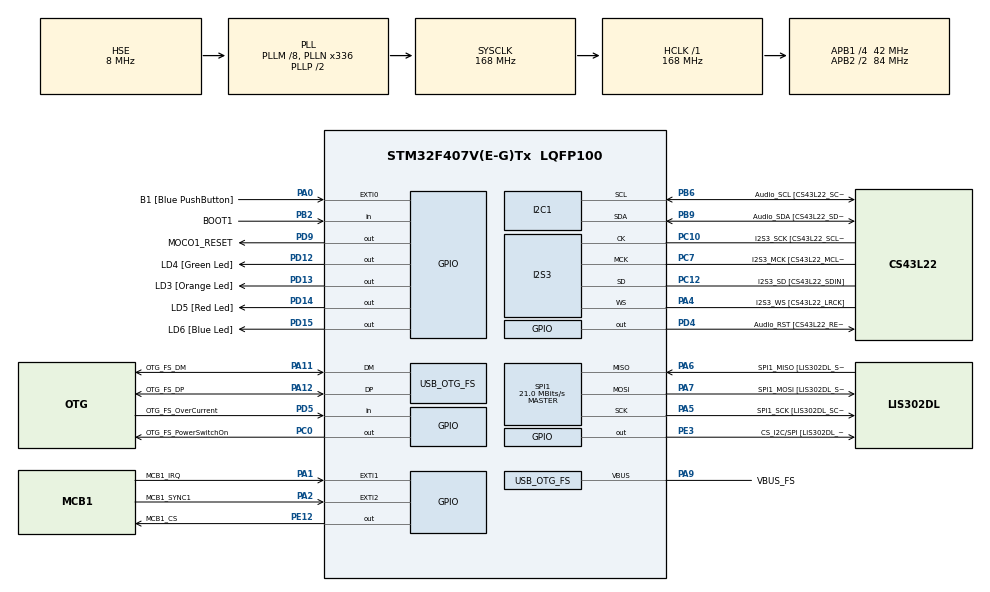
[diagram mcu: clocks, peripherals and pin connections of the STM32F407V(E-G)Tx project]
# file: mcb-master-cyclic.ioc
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I2S3.AudioFreq-Half_Duplex_Master=I2S_AUDIOFREQ_96K
I2S3.ErrorAudioFreq=-2.34 %
I2S3.ErrorAudioFreq-Half_Duplex_Master=0.8 %
I2S3.FullDuplexMode=I2S_FULLDUPLEXMODE_DISABLE
I2S3.Instance=SPI$Index
I2S3.RealAudioFreq=93.75 KHz
I2S3.RealAudioFreq-Half_Duplex_Master=96.774 KHz
I2S3.VirtualMode=I2S_MODE_MASTER
Mcu.Family=STM32F4
Mcu.Name=STM32F407V(E-G)Tx
Mcu.Package=LQFP100
NVIC.OTG_FS_IRQn=true\:0\:0\:false\:false\:true\:true\:true
NVIC.PriorityGroup=NVIC_PRIORITYGROUP_0
PA0-WKUP.GPIO_Label=B1 [Blue PushButton]
PA0-WKUP.GPIO_ModeDefaultEXTI=GPIO_MODE_EVT_RISING
PA0-WKUP.GPIO_PuPd=GPIO_NOPULL
PA0-WKUP.Signal=GPXTI0
PA1.GPIO_Label=MCB1_IRQ
PA1.Signal=GPXTI1
PA10.GPIO_Label=OTG_FS_ID
PA10.GPIO_Mode=GPIO_MODE_AF_PP
PA10.GPIO_PuPd=GPIO_NOPULL
PA10.GPIO_Speed=GPIO_SPEED_FREQ_LOW
PA10.Signal=USB_OTG_FS_ID
PA11.GPIO_Label=OTG_FS_DM
PA11.GPIO_Mode=GPIO_MODE_AF_PP
PA11.GPIO_PuPd=GPIO_NOPULL
PA11.GPIO_Speed=GPIO_SPEED_FREQ_LOW
PA11.Mode=Host_Only
PA11.Signal=USB_OTG_FS_DM
PA12.GPIO_Label=OTG_FS_DP
PA12.GPIO_Mode=GPIO_MODE_AF_PP
PA12.GPIO_PuPd=GPIO_NOPULL
PA12.GPIO_Speed=GPIO_SPEED_FREQ_LOW
PA12.Mode=Host_Only
PA12.Signal=USB_OTG_FS_DP
PA13.GPIO_Label=SWDIO
PA13.Mode=Serial_Wire
PA13.Signal=SYS_JTMS-SWDIO
PA14.GPIO_Label=SWCLK
PA14.Mode=Serial_Wire
PA14.Signal=SYS_JTCK-SWCLK
PA2.GPIO_Label=MCB1_SYNC1
PA2.GPIO_PuPd=GPIO_PULLUP
PA2.Signal=GPXTI2
PA4.GPIO_Label=I2S3_WS [CS43L22_LRCK]
PA4.GPIO_Mode=GPIO_MODE_AF_PP
PA4.GPIO_PuPd=GPIO_NOPULL
PA4.GPIO_Speed=GPIO_SPEED_FREQ_LOW
PA4.Mode=Half_Duplex_Master
PA4.Signal=I2S3_WS
PA5.GPIO_Label=SPI1_SCK [LIS302DL_SCL/SPC]
PA5.GPIO_Mode=GPIO_MODE_AF_PP
PA5.GPIO_PuPd=GPIO_NOPULL
PA5.GPIO_Speed=GPIO_SPEED_FREQ_LOW
PA5.Mode=Full_Duplex_Master
PA5.Signal=SPI1_SCK
PA6.GPIO_Label=SPI1_MISO [LIS302DL_SDO]
PA6.GPIO_Mode=GPIO_MODE_AF_PP
PA6.GPIO_PuPd=GPIO_NOPULL
PA6.GPIO_Speed=GPIO_SPEED_FREQ_LOW
PA6.Mode=Full_Duplex_Master
PA6.Signal=SPI1_MISO
PA7.GPIO_Label=SPI1_MOSI [LIS302DL_SDA/SDI/SDO]
PA7.GPIO_Mode=GPIO_MODE_AF_PP
PA7.GPIO_PuPd=GPIO_NOPULL
PA7.GPIO_Speed=GPIO_SPEED_FREQ_LOW
PA7.Mode=Full_Duplex_Master
PA7.Signal=SPI1_MOSI
PA9.GPIO_Label=VBUS_FS
PA9.GPIO_Mode=GPIO_MODE_INPUT
PA9.GPIO_PuPd=GPIO_NOPULL
PA9.Mode=Activate_VBUS
PA9.Signal=USB_OTG_FS_VBUS
PB10.GPIO_Label=CLK_IN [MP45DT02_CLK]
PB10.GPIO_Mode=GPIO_MODE_AF_PP
PB10.GPIO_PuPd=GPIO_NOPULL
PB10.GPIO_Speed=GPIO_SPEED_FREQ_LOW
PB10.Signal=I2S2_CK
PB2.GPIO_Label=BOOT1
PB2.GPIO_Mode=GPIO_MODE_INPUT
PB2.GPIO_PuPd=GPIO_NOPULL
PB2.Signal=GPIO_Input
PB3.GPIO_Label=SWO
PB3.Signal=SYS_JTDO-SWO
PB6.GPIO_Label=Audio_SCL [CS43L22_SCL]
PB6.GPIO_Mode=GPIO_MODE_AF_OD
PB6.GPIO_PuPd=GPIO_NOPULL
PB6.GPIO_Speed=GPIO_SPEED_FREQ_LOW
PB6.Mode=I2C
PB6.Signal=I2C1_SCL
PB9.GPIO_Label=Audio_SDA [CS43L22_SDA]
PB9.GPIO_Mode=GPIO_MODE_AF_OD
PB9.GPIO_PuPd=GPIO_NOPULL
PB9.GPIO_Speed=GPIO_SPEED_FREQ_LOW
PB9.Mode=I2C
PB9.Signal=I2C1_SDA
PC0.GPIO_Label=OTG_FS_PowerSwitchOn
PC0.GPIO_PuPd=GPIO_NOPULL
PC0.GPIO_Speed=GPIO_SPEED_FREQ_LOW
PC0.PinState=GPIO_PIN_SET
PC0.Signal=GPIO_Output
PC10.GPIO_Label=I2S3_SCK [CS43L22_SCLK]
PC10.GPIO_Mode=GPIO_MODE_AF_PP
PC10.GPIO_PuPd=GPIO_NOPULL
PC10.GPIO_Speed=GPIO_SPEED_FREQ_LOW
PC10.Mode=Half_Duplex_Master
PC10.Signal=I2S3_CK
PC12.GPIO_Label=I2S3_SD [CS43L22_SDIN]
PC12.GPIO_Mode=GPIO_MODE_AF_PP
PC12.GPIO_PuPd=GPIO_NOPULL
PC12.GPIO_Speed=GPIO_SPEED_FREQ_LOW
PC12.Mode=Half_Duplex_Master
PC12.Signal=I2S3_SD
PC14-OSC32_IN.GPIO_Label=PC14-OSC32_IN
PC14-OSC32_IN.Mode=LSE-External-Oscillator
PC14-OSC32_IN.Signal=RCC_OSC32_IN
PC15-OSC32_OUT.GPIO_Label=PC15-OSC32_OUT
PC15-OSC32_OUT.Mode=LSE-External-Oscillator
PC15-OSC32_OUT.Signal=RCC_OSC32_OUT
PC3.GPIO_Label=PDM_OUT [MP45DT02_DOUT]
PC3.GPIO_Mode=GPIO_MODE_AF_PP
PC3.GPIO_PuPd=GPIO_NOPULL
PC3.GPIO_Speed=GPIO_SPEED_FREQ_LOW
PC3.Signal=I2S2_SD
PC7.GPIO_Label=I2S3_MCK [CS43L22_MCLK]
PC7.GPIO_Mode=GPIO_MODE_AF_PP
PC7.GPIO_PuPd=GPIO_NOPULL
PC7.GPIO_Speed=GPIO_SPEED_FREQ_LOW
PC7.Mode=Master_Clock_Activated
PC7.Signal=I2S3_MCK
PD12.GPIO_Label=LD4 [Green Led]
PD12.GPIO_PuPd=GPIO_NOPULL
PD12.GPIO_Speed=GPIO_SPEED_FREQ_LOW
PD12.Signal=GPIO_Output
PD13.GPIO_Label=LD3 [Orange Led]
PD13.GPIO_PuPd=GPIO_NOPULL
PD13.GPIO_Speed=GPIO_SPEED_FREQ_LOW
PD13.Signal=GPIO_Output
PD14.GPIO_Label=LD5 [Red Led]
PD14.GPIO_PuPd=GPIO_NOPULL
PD14.GPIO_Speed=GPIO_SPEED_FREQ_LOW
PD14.Signal=GPIO_Output
PD15.GPIO_Label=LD6 [Blue Led]
PD15.GPIO_PuPd=GPIO_NOPULL
PD15.GPIO_Speed=GPIO_SPEED_FREQ_LOW
PD15.Signal=GPIO_Output
PD4.GPIO_Label=Audio_RST [CS43L22_RESET]
PD4.GPIO_PuPd=GPIO_NOPULL
PD4.GPIO_Speed=GPIO_SPEED_FREQ_LOW
PD4.Signal=GPIO_Output
PD5.GPIO_Label=OTG_FS_OverCurrent
PD5.GPIO_Mode=GPIO_MODE_INPUT
PD5.GPIO_PuPd=GPIO_NOPULL
PD5.Signal=GPIO_Input
PD9.GPIO_Label=MOCO1_RESET
PD9.Signal=GPIO_Output
PE12.GPIO_Label=MCB1_CS
PE12.GPIO_PuPd=GPIO_PULLUP
PE12.GPIO_Speed=GPIO_SPEED_FREQ_HIGH
PE12.PinState=GPIO_PIN_SET
PE12.Signal=GPIO_Output
PE3.GPIO_Label=CS_I2C/SPI [LIS302DL_CS_I2C/SPI]
PE3.GPIO_PuPd=GPIO_NOPULL
PE3.GPIO_Speed=GPIO_SPEED_FREQ_LOW
PE3.Signal=GPIO_Output
PH0-OSC_IN.GPIO_Label=PH0-OSC_IN
PH0-OSC_IN.Mode=HSE-External-Oscillator
PH0-OSC_IN.Signal=RCC_OSC_IN
PH1-OSC_OUT.GPIO_Label=PH1-OSC_OUT
PH1-OSC_OUT.Mode=HSE-External-Oscillator
PH1-OSC_OUT.Signal=RCC_OSC_OUT
ProjectManager.HeapSize=0x200
ProjectManager.StackSize=0x400
ProjectManager.TargetToolchain=STM32CubeIDE
RCC.48MHZClocksFreq_Value=48000000
RCC.AHBFreq_Value=168000000
RCC.APB1CLKDivider=RCC_HCLK_DIV4
RCC.APB1Freq_Value=42000000
RCC.APB1TimFreq_Value=84000000
RCC.APB2CLKDivider=RCC_HCLK_DIV2
RCC.APB2Freq_Value=84000000
RCC.APB2TimFreq_Value=168000000
RCC.CortexFreq_Value=168000000
RCC.HCLKFreq_Value=168000000
RCC.HSE_VALUE=8000000
RCC.HSI_VALUE=16000000
RCC.PLLM=8
RCC.PLLN=336
RCC.PLLQ=7
RCC.SYSCLKFreq_VALUE=168000000
RCC.SYSCLKSource=RCC_SYSCLKSOURCE_PLLCLK
RCC.VCOOutputFreq_Value=336000000
SPI1.BaudRatePrescaler=SPI_BAUDRATEPRESCALER_4
SPI1.BaudRatePrescaler-Full_Duplex_Master=SPI_BAUDRATEPRESCALER_2
SPI1.CLKPolarity=SPI_POLARITY_HIGH
SPI1.CRCCalculation=SPI_CRCCALCULATION_ENABLE
SPI1.CRCPolynomial=X12+X5+X0
SPI1.CalculateBaudRate=21.0 MBits/s
SPI1.CalculateBaudRate-Full_Duplex_Master=42.0 MBits/s
SPI1.DataSize=SPI_DATASIZE_16BIT
SPI1.Direction=SPI_DIRECTION_2LINES
SPI1.Mode=SPI_MODE_MASTER
SPI1.Mode-Full_Duplex_Master=SPI_MODE_MASTER
SPI1.VirtualType=VM_MASTER
USB_HOST.BSP.number=1
USB_HOST.USBH_HandleTypeDef-CDC_FS=hUsbHostFS
USB_HOST.VirtualModeFS=Cdc
USB_HOST0.BSP.STBoard=false
USB_HOST0.BSP.api=Unknown
USB_HOST0.BSP.i2caddr=0
USB_HOST0.BSP.i2creg=0
USB_HOST0.BSP.instance=PC0
USB_HOST0.BSP.ip=GPIO
USB_HOST0.BSP.mode=Output
USB_HOST0.BSP.name=Drive_VBUS_FS
USB_HOST0.BSP.solution=PC0
USB_OTG_FS.VirtualMode=Host_Only
USB_OTG_FS.phy_itface=HCD_PHY_EMBEDDED
VP_USB_HOST_VS_USB_HOST_CDC_FS.Mode=CDC_FS
board=STM32F407G-DISC1

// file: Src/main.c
/* USER CODE BEGIN Header */
/**
  ******************************************************************************
  * @file           : main.c
  * @brief          : Main program body
  ******************************************************************************
  * @attention
  *
  * <h2><center>&copy; Copyright (c) 2020 STMicroelectronics.
  * All rights reserved.</center></h2>
  *
  * This software component is licensed by ST under Ultimate Liberty license
  * SLA0044, the "License"; You may not use this file except in compliance with
  * the License. You may obtain a copy of the License at:
  *                             www.st.com/SLA0044
  *
  ******************************************************************************
  */
/* USER CODE END Header */

#include "main.h"
#include "usb_host.h"

/* USER CODE BEGIN Includes */
#include <string.h>
#include "mcb.h"
#include "mcb_al.h"
/* USER CODE END Includes */

/* USER CODE BEGIN PM */
#define MCB_NMB_INST    (uint16_t)1U
#define MCB_TIMEOUT     (uint32_t)500UL

/** Error codes */
#define NO_ERROR                    (int16_t)0
#define MCB_CURRENT_STATUS_ERROR    (int16_t)-1
#define MCB_MAPPING_ERROR           (int16_t)-2

#define MCB_TX_MAP_NMB              (uint16_t)2U
#define MCB_RX_MAP_NMB              (uint16_t)2U
/* USER CODE END PM */

I2C_HandleTypeDef hi2c1;

I2S_HandleTypeDef hi2s3;

SPI_HandleTypeDef hspi1;

void SystemClock_Config(void);
static void MX_GPIO_Init(void);
static void MX_I2C1_Init(void);
static void MX_I2S3_Init(void);
static void MX_SPI1_Init(void);
void MX_USB_HOST_Process(void);

/* USER CODE BEGIN PFP */
int16_t SetMcb0CyclicMode(void);
/* USER CODE END PFP */

/* USER CODE BEGIN 0 */
/** Mcb instance */
Mcb_TInst ptMcbInst[MCB_NMB_INST];

void* ppTxDatPoint[MCB_TX_MAP_NMB];
void* ppRxDatPoint[MCB_RX_MAP_NMB];

/* USER CODE END 0 */

int main(void)
{

  /* MCU Configuration--------------------------------------------------------*/

  /* Reset of all peripherals, Initializes the Flash interface and the Systick. */
  HAL_Init();

  /* Configure the system clock */
  SystemClock_Config();

  /* Initialize all configured peripherals */
  MX_GPIO_Init();
  MX_I2C1_Init();
  MX_I2S3_Init();
  MX_SPI1_Init();
  MX_USB_HOST_Init();
  /* USER CODE BEGIN 2 */
    /** Initialize mcb instance */
    McbAL_Init(MCB_INST0);
    Mcb_Init(&(ptMcbInst[MCB_INST0]), MCB_BLOCKING, MCB_INST0, false, MCB_TIMEOUT);
    HAL_Delay((uint32_t)1UL);

  /* USER CODE END 2 */

  /* Infinite loop */
  /* USER CODE BEGIN WHILE */
    /** Construct MCB read message */
    Mcb_TMsg tMcbMsg;
    /** Software version */
    tMcbMsg.u16Addr = 0x6E4;
    tMcbMsg.eStatus = MCB_STANDBY;
    memset((void*)tMcbMsg.u16Data, (uint16_t)0U, (MCB_MAX_DATA_SZ * sizeof(tMcbMsg.u16Data[(uint16_t)0U])));

    /** Set mapping and move MCB to cyclic state */
    int16_t i16CycSt = SetMcb0CyclicMode();

    if (i16CycSt != NO_ERROR)
    {
        return -1;
    }

    uint32_t u32CycCnt = (uint32_t)0UL;
    Mcb_EStatus eResult = MCB_STANDBY;
    /** Set a new current Q setpoint */
    float fCurrentQSP = (float)1.1f;
    memcpy(ppRxDatPoint[1], (const void*)&fCurrentQSP, sizeof(float));

    float fCurQRead = (float)0.0f;
  while (1)
  {
    /* USER CODE END WHILE */
    MX_USB_HOST_Process();

    /* USER CODE BEGIN 3 */

      /** Perform a cyclic transfer */
      Mcb_CyclicProcess(&(ptMcbInst[MCB_INST0]), &eResult);
      u32CycCnt++;

      /** Copy current Q to local */
      memcpy((void*)&fCurQRead, (const void*)ppTxDatPoint[1], sizeof(float));
      /** If previous cyclic has already finished, start a new one */
      if (eResult == MCB_READ_SUCCESS)
      {
          ptMcbInst[MCB_INST0].Mcb_Read(&(ptMcbInst[MCB_INST0]), &(tMcbMsg));
      }

      /** After several iteration disable cyclic state and finish program */
      if (u32CycCnt > (uint32_t)0xFFFFUL)
      {
          Mcb_DisableCyclic(ptMcbInst);
      }
      if (ptMcbInst[MCB_INST0].isCyclic == false)
      {
          break;
      }
  }
  /* USER CODE END 3 */
}

void SystemClock_Config(void)
{
  RCC_OscInitTypeDef RCC_OscInitStruct = {0};
  RCC_ClkInitTypeDef RCC_ClkInitStruct = {0};
  RCC_PeriphCLKInitTypeDef PeriphClkInitStruct = {0};

  /** Configure the main internal regulator output voltage
  */
  __HAL_RCC_PWR_CLK_ENABLE();
  __HAL_PWR_VOLTAGESCALING_CONFIG(PWR_REGULATOR_VOLTAGE_SCALE1);
  /** Initializes the CPU, AHB and APB busses clocks
  */
  RCC_OscInitStruct.OscillatorType = RCC_OSCILLATORTYPE_HSE;
  RCC_OscInitStruct.HSEState = RCC_HSE_ON;
  RCC_OscInitStruct.PLL.PLLState = RCC_PLL_ON;
  RCC_OscInitStruct.PLL.PLLSource = RCC_PLLSOURCE_HSE;
  RCC_OscInitStruct.PLL.PLLM = 8;
  RCC_OscInitStruct.PLL.PLLN = 336;
  RCC_OscInitStruct.PLL.PLLP = RCC_PLLP_DIV2;
  RCC_OscInitStruct.PLL.PLLQ = 7;
  if (HAL_RCC_OscConfig(&RCC_OscInitStruct) != HAL_OK)
  {
    Error_Handler();
  }
  /** Initializes the CPU, AHB and APB busses clocks
  */
  RCC_ClkInitStruct.ClockType = RCC_CLOCKTYPE_HCLK|RCC_CLOCKTYPE_SYSCLK
                              |RCC_CLOCKTYPE_PCLK1|RCC_CLOCKTYPE_PCLK2;
  RCC_ClkInitStruct.SYSCLKSource = RCC_SYSCLKSOURCE_PLLCLK;
  RCC_ClkInitStruct.AHBCLKDivider = RCC_SYSCLK_DIV1;
  RCC_ClkInitStruct.APB1CLKDivider = RCC_HCLK_DIV4;
  RCC_ClkInitStruct.APB2CLKDivider = RCC_HCLK_DIV2;

  if (HAL_RCC_ClockConfig(&RCC_ClkInitStruct, FLASH_LATENCY_5) != HAL_OK)
  {
    Error_Handler();
  }
  PeriphClkInitStruct.PeriphClockSelection = RCC_PERIPHCLK_I2S;
  PeriphClkInitStruct.PLLI2S.PLLI2SN = 192;
  PeriphClkInitStruct.PLLI2S.PLLI2SR = 2;
  if (HAL_RCCEx_PeriphCLKConfig(&PeriphClkInitStruct) != HAL_OK)
  {
    Error_Handler();
  }
}

static void MX_I2C1_Init(void)
{

  hi2c1.Instance = I2C1;
  hi2c1.Init.ClockSpeed = 100000;
  hi2c1.Init.DutyCycle = I2C_DUTYCYCLE_2;
  hi2c1.Init.OwnAddress1 = 0;
  hi2c1.Init.AddressingMode = I2C_ADDRESSINGMODE_7BIT;
  hi2c1.Init.DualAddressMode = I2C_DUALADDRESS_DISABLE;
  hi2c1.Init.OwnAddress2 = 0;
  hi2c1.Init.GeneralCallMode = I2C_GENERALCALL_DISABLE;
  hi2c1.Init.NoStretchMode = I2C_NOSTRETCH_DISABLE;
  if (HAL_I2C_Init(&hi2c1) != HAL_OK)
  {
    Error_Handler();
  }

}

static void MX_I2S3_Init(void)
{

  hi2s3.Instance = SPI3;
  hi2s3.Init.Mode = I2S_MODE_MASTER_TX;
  hi2s3.Init.Standard = I2S_STANDARD_PHILIPS;
  hi2s3.Init.DataFormat = I2S_DATAFORMAT_16B;
  hi2s3.Init.MCLKOutput = I2S_MCLKOUTPUT_ENABLE;
  hi2s3.Init.AudioFreq = I2S_AUDIOFREQ_96K;
  hi2s3.Init.CPOL = I2S_CPOL_LOW;
  hi2s3.Init.ClockSource = I2S_CLOCK_PLL;
  hi2s3.Init.FullDuplexMode = I2S_FULLDUPLEXMODE_DISABLE;
  if (HAL_I2S_Init(&hi2s3) != HAL_OK)
  {
    Error_Handler();
  }

}

static void MX_SPI1_Init(void)
{

  /* SPI1 parameter configuration*/
  hspi1.Instance = SPI1;
  hspi1.Init.Mode = SPI_MODE_MASTER;
  hspi1.Init.Direction = SPI_DIRECTION_2LINES;
  hspi1.Init.DataSize = SPI_DATASIZE_16BIT;
  hspi1.Init.CLKPolarity = SPI_POLARITY_HIGH;
  hspi1.Init.CLKPhase = SPI_PHASE_1EDGE;
  hspi1.Init.NSS = SPI_NSS_SOFT;
  hspi1.Init.BaudRatePrescaler = SPI_BAUDRATEPRESCALER_4;
  hspi1.Init.FirstBit = SPI_FIRSTBIT_MSB;
  hspi1.Init.TIMode = SPI_TIMODE_DISABLE;
  hspi1.Init.CRCCalculation = SPI_CRCCALCULATION_ENABLE;
  hspi1.Init.CRCPolynomial = 4129;
  if (HAL_SPI_Init(&hspi1) != HAL_OK)
  {
    Error_Handler();
  }

}

static void MX_GPIO_Init(void)
{
  GPIO_InitTypeDef GPIO_InitStruct = {0};

  /* GPIO Ports Clock Enable */
  __HAL_RCC_GPIOE_CLK_ENABLE();
  __HAL_RCC_GPIOC_CLK_ENABLE();
  __HAL_RCC_GPIOH_CLK_ENABLE();
  __HAL_RCC_GPIOA_CLK_ENABLE();
  __HAL_RCC_GPIOB_CLK_ENABLE();
  __HAL_RCC_GPIOD_CLK_ENABLE();

  /*Configure GPIO pin Output Level */
  HAL_GPIO_WritePin(CS_I2C_SPI_GPIO_Port, CS_I2C_SPI_Pin, GPIO_PIN_RESET);

  /*Configure GPIO pin Output Level */
  HAL_GPIO_WritePin(OTG_FS_PowerSwitchOn_GPIO_Port, OTG_FS_PowerSwitchOn_Pin, GPIO_PIN_SET);

  /*Configure GPIO pin Output Level */
  HAL_GPIO_WritePin(MCB1_CS_GPIO_Port, MCB1_CS_Pin, GPIO_PIN_SET);

  /*Configure GPIO pin Output Level */
  HAL_GPIO_WritePin(GPIOD, MOCO1_RESET_Pin|LD4_Pin|LD3_Pin|LD5_Pin
                          |LD6_Pin|Audio_RST_Pin, GPIO_PIN_RESET);

  /*Configure GPIO pin : CS_I2C_SPI_Pin */
  GPIO_InitStruct.Pin = CS_I2C_SPI_Pin;
  GPIO_InitStruct.Mode = GPIO_MODE_OUTPUT_PP;
  GPIO_InitStruct.Pull = GPIO_NOPULL;
  GPIO_InitStruct.Speed = GPIO_SPEED_FREQ_LOW;
  HAL_GPIO_Init(CS_I2C_SPI_GPIO_Port, &GPIO_InitStruct);

  /*Configure GPIO pin : OTG_FS_PowerSwitchOn_Pin */
  GPIO_InitStruct.Pin = OTG_FS_PowerSwitchOn_Pin;
  GPIO_InitStruct.Mode = GPIO_MODE_OUTPUT_PP;
  GPIO_InitStruct.Pull = GPIO_NOPULL;
  GPIO_InitStruct.Speed = GPIO_SPEED_FREQ_LOW;
  HAL_GPIO_Init(OTG_FS_PowerSwitchOn_GPIO_Port, &GPIO_InitStruct);

  /*Configure GPIO pin : PDM_OUT_Pin */
  GPIO_InitStruct.Pin = PDM_OUT_Pin;
  GPIO_InitStruct.Mode = GPIO_MODE_AF_PP;
  GPIO_InitStruct.Pull = GPIO_NOPULL;
  GPIO_InitStruct.Speed = GPIO_SPEED_FREQ_LOW;
  GPIO_InitStruct.Alternate = GPIO_AF5_SPI2;
  HAL_GPIO_Init(PDM_OUT_GPIO_Port, &GPIO_InitStruct);

  /*Configure GPIO pin : B1_Pin */
  GPIO_InitStruct.Pin = B1_Pin;
  GPIO_InitStruct.Mode = GPIO_MODE_EVT_RISING;
  GPIO_InitStruct.Pull = GPIO_NOPULL;
  HAL_GPIO_Init(B1_GPIO_Port, &GPIO_InitStruct);

  /*Configure GPIO pin : MCB1_IRQ_Pin */
  GPIO_InitStruct.Pin = MCB1_IRQ_Pin;
  GPIO_InitStruct.Mode = GPIO_MODE_IT_RISING;
  GPIO_InitStruct.Pull = GPIO_NOPULL;
  HAL_GPIO_Init(MCB1_IRQ_GPIO_Port, &GPIO_InitStruct);

  /*Configure GPIO pin : MCB1_SYNC1_Pin */
  GPIO_InitStruct.Pin = MCB1_SYNC1_Pin;
  GPIO_InitStruct.Mode = GPIO_MODE_IT_RISING;
  GPIO_InitStruct.Pull = GPIO_PULLUP;
  HAL_GPIO_Init(MCB1_SYNC1_GPIO_Port, &GPIO_InitStruct);

  /*Configure GPIO pin : BOOT1_Pin */
  GPIO_InitStruct.Pin = BOOT1_Pin;
  GPIO_InitStruct.Mode = GPIO_MODE_INPUT;
  GPIO_InitStruct.Pull = GPIO_NOPULL;
  HAL_GPIO_Init(BOOT1_GPIO_Port, &GPIO_InitStruct);

  /*Configure GPIO pin : MCB1_CS_Pin */
  GPIO_InitStruct.Pin = MCB1_CS_Pin;
  GPIO_InitStruct.Mode = GPIO_MODE_OUTPUT_PP;
  GPIO_InitStruct.Pull = GPIO_PULLUP;
  GPIO_InitStruct.Speed = GPIO_SPEED_FREQ_HIGH;
  HAL_GPIO_Init(MCB1_CS_GPIO_Port, &GPIO_InitStruct);

  /*Configure GPIO pin : CLK_IN_Pin */
  GPIO_InitStruct.Pin = CLK_IN_Pin;
  GPIO_InitStruct.Mode = GPIO_MODE_AF_PP;
  GPIO_InitStruct.Pull = GPIO_NOPULL;
  GPIO_InitStruct.Speed = GPIO_SPEED_FREQ_LOW;
  GPIO_InitStruct.Alternate = GPIO_AF5_SPI2;
  HAL_GPIO_Init(CLK_IN_GPIO_Port, &GPIO_InitStruct);

  /*Configure GPIO pins : MOCO1_RESET_Pin LD4_Pin LD3_Pin LD5_Pin
                           LD6_Pin Audio_RST_Pin */
  GPIO_InitStruct.Pin = MOCO1_RESET_Pin|LD4_Pin|LD3_Pin|LD5_Pin
                          |LD6_Pin|Audio_RST_Pin;
  GPIO_InitStruct.Mode = GPIO_MODE_OUTPUT_PP;
  GPIO_InitStruct.Pull = GPIO_NOPULL;
  GPIO_InitStruct.Speed = GPIO_SPEED_FREQ_LOW;
  HAL_GPIO_Init(GPIOD, &GPIO_InitStruct);

  /*Configure GPIO pin : OTG_FS_OverCurrent_Pin */
  GPIO_InitStruct.Pin = OTG_FS_OverCurrent_Pin;
  GPIO_InitStruct.Mode = GPIO_MODE_INPUT;
  GPIO_InitStruct.Pull = GPIO_NOPULL;
  HAL_GPIO_Init(OTG_FS_OverCurrent_GPIO_Port, &GPIO_InitStruct);

}

/* USER CODE BEGIN 4 */

int16_t SetMcb0CyclicMode(void)
{
    int16_t i16Ret = NO_ERROR;

    do
    {
        if (ptMcbInst[MCB_INST0].isCyclic != false)
        {
            i16Ret = MCB_CURRENT_STATUS_ERROR;
            break;
        }

        Mcb_UnmapAll(&(ptMcbInst[MCB_INST0]));

        /** Set as Tx Map:
         *   Statusword : Key 0x011, Type unt16_t
         *   Current quadrature value : Key 0x03B, Type float */
        ppTxDatPoint[0] = Mcb_TxMap(&(ptMcbInst[MCB_INST0]),
                                    (uint16_t)0x0011, sizeof(uint16_t));
        ppTxDatPoint[1] = Mcb_TxMap(&(ptMcbInst[MCB_INST0]),
                                    (uint16_t)0x003B, sizeof(float));

        /** Set as Rx Map:
         *   Controlword : Key 0x010, Type unt16_t
         *   Current quadrature set-point : Key 0x01A, Type float */
        ppRxDatPoint[0] = Mcb_RxMap(&(ptMcbInst[MCB_INST0]),
                                    (uint16_t)0x0010, sizeof(uint16_t));
        ppRxDatPoint[1] = Mcb_RxMap(&(ptMcbInst[MCB_INST0]),
                                    (uint16_t)0x001A, sizeof(float));
        for (uint8_t u8Idx = (uint8_t)0; u8Idx < MCB_TX_MAP_NMB; ++u8Idx)
        {
            if ((ppTxDatPoint[u8Idx] == NULL) || (ppRxDatPoint[u8Idx] == NULL))
            {
                i16Ret = MCB_MAPPING_ERROR;
            }
        }

        if ((ptMcbInst[MCB_INST0].tCyclicTxList.u8Mapped != MCB_TX_MAP_NMB)
            || (ptMcbInst[MCB_INST0].tCyclicRxList.u8Mapped != MCB_RX_MAP_NMB))
        {
            i16Ret = MCB_MAPPING_ERROR;
        }

        i16Ret = Mcb_EnableCyclic(&(ptMcbInst[MCB_INST0]));

    } while (false);

    return i16Ret;
}

/* USER CODE END 4 */

void Error_Handler(void)
{
}

/************************ (C) COPYRIGHT STMicroelectronics *****END OF FILE****/
